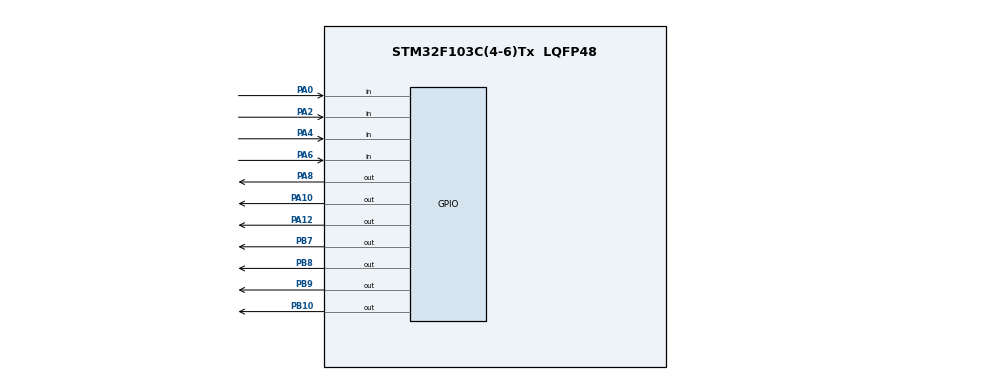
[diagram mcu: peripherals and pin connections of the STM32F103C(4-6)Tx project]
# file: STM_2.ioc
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Mcu.Family=STM32F1
Mcu.Name=STM32F103C(4-6)Tx
Mcu.Package=LQFP48
NVIC.PriorityGroup=NVIC_PRIORITYGROUP_4
PA0-WKUP.Signal=GPIO_Input
PA10.Signal=GPIO_Output
PA12.Signal=GPIO_Output
PA2.Signal=GPIO_Input
PA4.Signal=GPIO_Input
PA6.Signal=GPIO_Input
PA8.Signal=GPIO_Output
PB10.Signal=GPIO_Output
PB7.Signal=GPIO_Output
PB8.Signal=GPIO_Output
PB9.Signal=GPIO_Output
ProjectManager.HeapSize=0x200
ProjectManager.StackSize=0x400
ProjectManager.TargetToolchain=STM32CubeIDE
RCC.APB1Freq_Value=8000000
RCC.APB2Freq_Value=8000000
board=custom

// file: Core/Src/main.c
/* USER CODE BEGIN Header */
/**
  ******************************************************************************
  * @file           : main.c
  * @brief          : Main program body
  * STM32F103C6
  ******************************************************************************
  * @attention
  *
  * Copyright (c) 2022 STMicroelectronics.
  * All rights reserved.
  *
  * This software is licensed under terms that can be found in the LICENSE file
  * in the root directory of this software component.
  * If no LICENSE file comes with this software, it is provided AS-IS.
  *
  ******************************************************************************
  */
/* USER CODE END Header */
#include "main.h"

/* USER CODE BEGIN PD */
#define Disp1_On	HAL_GPIO_WritePin(GPIOB, GPIO_PIN_7, SET)
#define Disp1_Off	HAL_GPIO_WritePin(GPIOB, GPIO_PIN_7, RESET)
#define Disp2_On	HAL_GPIO_WritePin(GPIOB, GPIO_PIN_8, SET)
#define Disp2_Off	HAL_GPIO_WritePin(GPIOB, GPIO_PIN_8, RESET)
#define Disp3_On	HAL_GPIO_WritePin(GPIOB, GPIO_PIN_9, SET)
#define Disp3_Off	HAL_GPIO_WritePin(GPIOB, GPIO_PIN_9, RESET)
#define Disp4_On	HAL_GPIO_WritePin(GPIOB, GPIO_PIN_10, SET)
#define Disp4_Off	HAL_GPIO_WritePin(GPIOB, GPIO_PIN_10, RESET)
#define Column1_On  HAL_GPIO_WritePin(GPIOA, GPIO_PIN_8, SET)
#define Column1_Off HAL_GPIO_WritePin(GPIOA, GPIO_PIN_8, RESET)
#define Column2_On  HAL_GPIO_WritePin(GPIOA, GPIO_PIN_10, SET)
#define Column2_Off HAL_GPIO_WritePin(GPIOA, GPIO_PIN_10, RESET)
#define Column3_On  HAL_GPIO_WritePin(GPIOA, GPIO_PIN_12, SET)
#define Column3_Off HAL_GPIO_WritePin(GPIOA, GPIO_PIN_12, RESET)
#define Row1_On  HAL_GPIO_ReadPin(GPIOA, GPIO_PIN_6) == 1
#define Row2_On  HAL_GPIO_ReadPin(GPIOA, GPIO_PIN_4) == 1
#define Row3_On  HAL_GPIO_ReadPin(GPIOA, GPIO_PIN_2) == 1
#define Row4_On  HAL_GPIO_ReadPin(GPIOA, GPIO_PIN_0) == 1
/* USER CODE END PD */

/* USER CODE BEGIN PV */
char Numero = 0;
/* USER CODE END PV */

void SystemClock_Config(void);
static void MX_GPIO_Init(void);
/* USER CODE BEGIN PFP */
void Display_Send(char data);
/* USER CODE END PFP */

int main(void)
{

  /* MCU Configuration--------------------------------------------------------*/

  /* Reset of all peripherals, Initializes the Flash interface and the Systick. */
  HAL_Init();

  /* Configure the system clock */
  SystemClock_Config();

  /* Initialize all configured peripherals */
  MX_GPIO_Init();

  /* Infinite loop */
  /* USER CODE BEGIN WHILE */
  while (1)
  {
	  Column1_On;
	  if(Row1_On){Display_Send(1);}
	  if(Row2_On){Display_Send(4);}
	  if(Row3_On){Display_Send(7);}
	  if(Row4_On){Display_Send(10);}
	  Column1_Off;

	  Column2_On;
	  if(Row1_On){Display_Send(2);}
	  if(Row2_On){Display_Send(5);}
	  if(Row3_On){Display_Send(8);}
	  if(Row4_On){Display_Send(0);}
	  Column2_Off;

	  Column3_On;
	  if(Row1_On){Display_Send(3);}
	  if(Row2_On){Display_Send(6);}
	  if(Row3_On){Display_Send(9);}
	  if(Row4_On){Display_Send(11);}
	  Column3_Off;

    /* USER CODE END WHILE */

  }
}

void SystemClock_Config(void)
{
  RCC_OscInitTypeDef RCC_OscInitStruct = {0};
  RCC_ClkInitTypeDef RCC_ClkInitStruct = {0};

  /** Initializes the RCC Oscillators according to the specified parameters
  * in the RCC_OscInitTypeDef structure.
  */
  RCC_OscInitStruct.OscillatorType = RCC_OSCILLATORTYPE_HSI;
  RCC_OscInitStruct.HSIState = RCC_HSI_ON;
  RCC_OscInitStruct.HSICalibrationValue = RCC_HSICALIBRATION_DEFAULT;
  RCC_OscInitStruct.PLL.PLLState = RCC_PLL_NONE;
  if (HAL_RCC_OscConfig(&RCC_OscInitStruct) != HAL_OK)
  {
    Error_Handler();
  }

  /** Initializes the CPU, AHB and APB buses clocks
  */
  RCC_ClkInitStruct.ClockType = RCC_CLOCKTYPE_HCLK|RCC_CLOCKTYPE_SYSCLK
                              |RCC_CLOCKTYPE_PCLK1|RCC_CLOCKTYPE_PCLK2;
  RCC_ClkInitStruct.SYSCLKSource = RCC_SYSCLKSOURCE_HSI;
  RCC_ClkInitStruct.AHBCLKDivider = RCC_SYSCLK_DIV1;
  RCC_ClkInitStruct.APB1CLKDivider = RCC_HCLK_DIV1;
  RCC_ClkInitStruct.APB2CLKDivider = RCC_HCLK_DIV1;

  if (HAL_RCC_ClockConfig(&RCC_ClkInitStruct, FLASH_LATENCY_0) != HAL_OK)
  {
    Error_Handler();
  }
}

static void MX_GPIO_Init(void)
{
  GPIO_InitTypeDef GPIO_InitStruct = {0};

  /* GPIO Ports Clock Enable */
  __HAL_RCC_GPIOA_CLK_ENABLE();
  __HAL_RCC_GPIOB_CLK_ENABLE();

  /*Configure GPIO pin Output Level */
  HAL_GPIO_WritePin(GPIOB, GPIO_PIN_10|GPIO_PIN_7|GPIO_PIN_8|GPIO_PIN_9, GPIO_PIN_RESET);

  /*Configure GPIO pin Output Level */
  HAL_GPIO_WritePin(GPIOA, GPIO_PIN_8|GPIO_PIN_10|GPIO_PIN_12, GPIO_PIN_RESET);

  /*Configure GPIO pins : PA0 PA2 PA4 PA6 */
  GPIO_InitStruct.Pin = GPIO_PIN_0|GPIO_PIN_2|GPIO_PIN_4|GPIO_PIN_6;
  GPIO_InitStruct.Mode = GPIO_MODE_INPUT;
  GPIO_InitStruct.Pull = GPIO_NOPULL;
  HAL_GPIO_Init(GPIOA, &GPIO_InitStruct);

  /*Configure GPIO pins : PB10 PB7 PB8 PB9 */
  GPIO_InitStruct.Pin = GPIO_PIN_10|GPIO_PIN_7|GPIO_PIN_8|GPIO_PIN_9;
  GPIO_InitStruct.Mode = GPIO_MODE_OUTPUT_PP;
  GPIO_InitStruct.Pull = GPIO_NOPULL;
  GPIO_InitStruct.Speed = GPIO_SPEED_FREQ_LOW;
  HAL_GPIO_Init(GPIOB, &GPIO_InitStruct);

  /*Configure GPIO pins : PA8 PA10 PA12 */
  GPIO_InitStruct.Pin = GPIO_PIN_8|GPIO_PIN_10|GPIO_PIN_12;
  GPIO_InitStruct.Mode = GPIO_MODE_OUTPUT_PP;
  GPIO_InitStruct.Pull = GPIO_NOPULL;
  GPIO_InitStruct.Speed = GPIO_SPEED_FREQ_LOW;
  HAL_GPIO_Init(GPIOA, &GPIO_InitStruct);

}

/* USER CODE BEGIN 4 */
void Display_Send(char data)
{
	switch(data){
	case 0: {Disp1_Off; Disp2_Off; Disp3_Off; Disp4_Off;}
			break;
	case 1: {Disp1_On; Disp2_Off; Disp3_Off; Disp4_Off;}
			break;
	case 2: {Disp1_Off; Disp2_On; Disp3_Off; Disp4_Off;}
			break;
	case 3: {Disp1_On; Disp2_On; Disp3_Off; Disp4_Off;}
			break;
	case 4: {Disp1_Off; Disp2_Off; Disp3_On; Disp4_Off;}
			break;
	case 5: {Disp1_On; Disp2_Off; Disp3_On; Disp4_Off;}
			break;
	case 6: {Disp1_Off; Disp2_On; Disp3_On; Disp4_Off;}
			break;
	case 7: {Disp1_On; Disp2_On; Disp3_On; Disp4_Off;}
			break;
	case 8: {Disp1_Off; Disp2_Off; Disp3_Off; Disp4_On;}
			break;
	case 9: {Disp1_On; Disp2_Off; Disp3_Off; Disp4_On;}
			break;
	case 10: {Disp1_Off; Disp2_On; Disp3_Off; Disp4_On;}
			break;
	case 11: {Disp1_Off; Disp2_On; Disp3_On; Disp4_On;}
			break;

	}
}
/* USER CODE END 4 */

void Error_Handler(void)
{
  __disable_irq();
  while (1)
  {
  }
}
